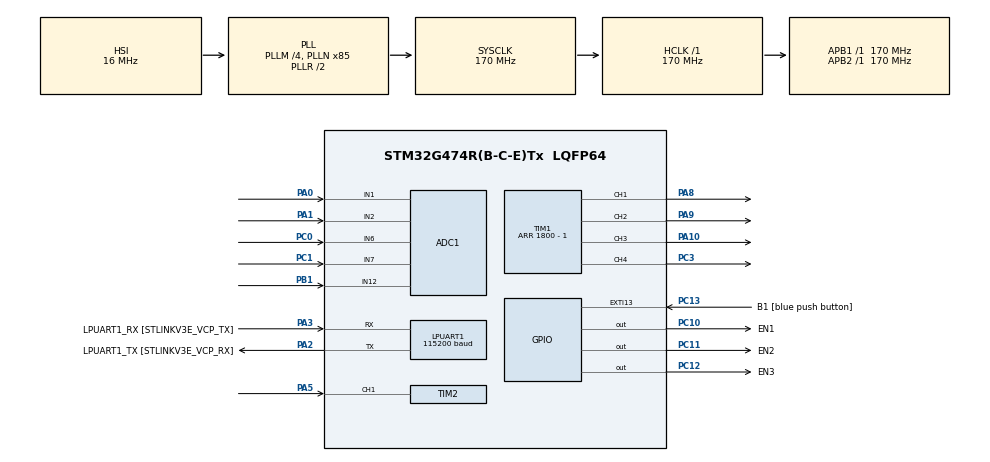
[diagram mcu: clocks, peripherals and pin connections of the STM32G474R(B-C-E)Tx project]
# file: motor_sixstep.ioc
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ADC1.Channel-0\#ChannelRegularConversion=ADC_CHANNEL_2
ADC1.Channel-4\#ChannelRegularConversion=ADC_CHANNEL_12
ADC1.ContinuousConvMode=ENABLE
ADC1.DMAContinuousRequests=ENABLE
ADC1.EnableInjectedConversion=ENABLE
ADC1.ExternalTrigInjecConv=ADC_EXTERNALTRIGINJEC_T1_TRGO
ADC1.InjNumberOfConversion=3
ADC1.InjectedChannel-1\#ChannelInjectedConversion=ADC_CHANNEL_1
ADC1.InjectedChannel-2\#ChannelInjectedConversion=ADC_CHANNEL_7
ADC1.InjectedChannel-3\#ChannelInjectedConversion=ADC_CHANNEL_6
ADC1.InjectedOffsetNumber-1\#ChannelInjectedConversion=ADC_OFFSET_NONE
ADC1.InjectedOffsetNumber-2\#ChannelInjectedConversion=ADC_OFFSET_NONE
ADC1.InjectedOffsetNumber-3\#ChannelInjectedConversion=ADC_OFFSET_NONE
ADC1.InjectedRank-1\#ChannelInjectedConversion=1
ADC1.InjectedRank-2\#ChannelInjectedConversion=2
ADC1.InjectedRank-3\#ChannelInjectedConversion=3
ADC1.InjectedSamplingTime-1\#ChannelInjectedConversion=ADC_SAMPLETIME_2CYCLES_5
ADC1.InjectedSamplingTime-2\#ChannelInjectedConversion=ADC_SAMPLETIME_2CYCLES_5
ADC1.InjectedSamplingTime-3\#ChannelInjectedConversion=ADC_SAMPLETIME_2CYCLES_5
ADC1.NbrOfConversion=2
ADC1.NbrOfConversionFlag=1
ADC1.OffsetNumber-0\#ChannelRegularConversion=ADC_OFFSET_NONE
ADC1.OffsetNumber-4\#ChannelRegularConversion=ADC_OFFSET_NONE
ADC1.Rank-0\#ChannelRegularConversion=1
ADC1.Rank-4\#ChannelRegularConversion=2
ADC1.Rank2_Channel=ADC_CHANNEL_7
ADC1.Rank3_Channel=ADC_CHANNEL_6
ADC1.SamplingTime-0\#ChannelRegularConversion=ADC_SAMPLETIME_2CYCLES_5
ADC1.SamplingTime-4\#ChannelRegularConversion=ADC_SAMPLETIME_2CYCLES_5
ADC1.master=1
Dma.ADC1.0.Direction=DMA_PERIPH_TO_MEMORY
Dma.ADC1.0.EventEnable=DISABLE
Dma.ADC1.0.Instance=DMA1_Channel1
Dma.ADC1.0.MemDataAlignment=DMA_MDATAALIGN_HALFWORD
Dma.ADC1.0.MemInc=DMA_MINC_ENABLE
Dma.ADC1.0.Mode=DMA_CIRCULAR
Dma.ADC1.0.PeriphDataAlignment=DMA_PDATAALIGN_HALFWORD
Dma.ADC1.0.PeriphInc=DMA_PINC_DISABLE
Dma.ADC1.0.Polarity=HAL_DMAMUX_REQ_GEN_RISING
Dma.ADC1.0.Priority=DMA_PRIORITY_LOW
Dma.ADC1.0.RequestNumber=1
Dma.ADC1.0.SignalID=NONE
Dma.ADC1.0.SyncEnable=DISABLE
Dma.ADC1.0.SyncPolarity=HAL_DMAMUX_SYNC_NO_EVENT
Dma.ADC1.0.SyncRequestNumber=1
Dma.ADC1.0.SyncSignalID=NONE
Dma.Request0=ADC1
LPUART1.BaudRate=115200
LPUART1.WordLength=UART_WORDLENGTH_8B
Mcu.Family=STM32G4
Mcu.Name=STM32G474R(B-C-E)Tx
Mcu.Package=LQFP64
NVIC.ADC1_2_IRQn=true\:0\:0\:false\:false\:true\:true\:true\:true
NVIC.DMA1_Channel1_IRQn=true\:0\:0\:false\:false\:true\:false\:true\:true
NVIC.EXTI15_10_IRQn=true\:0\:0\:false\:false\:true\:true\:true\:true
NVIC.PriorityGroup=NVIC_PRIORITYGROUP_4
NVIC.TIM2_IRQn=true\:0\:0\:false\:false\:true\:true\:true\:true
PA0.Mode=IN1-Single-Ended
PA0.Signal=ADC1_IN1
PA1.Mode=IN2-Single-Ended
PA1.Signal=ADC1_IN2
PA10.Signal=S_TIM1_CH3
PA13.GPIO_Label=T_SWDIO
PA13.Mode=Serial_Wire
PA13.Signal=SYS_JTMS-SWDIO
PA14.GPIO_Label=T_SWCLK
PA14.Mode=Serial_Wire
PA14.Signal=SYS_JTCK-SWCLK
PA2.GPIO_Label=LPUART1_TX [STLINKV3E_VCP_RX]
PA2.Mode=Asynchronous
PA2.Signal=LPUART1_TX
PA3.GPIO_Label=LPUART1_RX [STLINKV3E_VCP_TX]
PA3.Mode=Asynchronous
PA3.Signal=LPUART1_RX
PA5.Signal=S_TIM2_CH1
PA8.Signal=S_TIM1_CH1
PA9.Signal=S_TIM1_CH2
PB1.Mode=IN12-Single-Ended
PB1.Signal=ADC1_IN12
PC0.Mode=IN6-Single-Ended
PC0.Signal=ADC1_IN6
PC1.Mode=IN7-Single-Ended
PC1.Signal=ADC1_IN7
PC10.GPIO_Label=EN1
PC10.Signal=GPIO_Output
PC11.GPIO_Label=EN2
PC11.Signal=GPIO_Output
PC12.GPIO_Label=EN3
PC12.Signal=GPIO_Output
PC13.GPIO_Label=B1 [blue push button]
PC13.Signal=GPXTI13
PC14-OSC32_IN.Mode=LSE-External-Oscillator
PC14-OSC32_IN.Signal=RCC_OSC32_IN
PC15-OSC32_OUT.Mode=LSE-External-Oscillator
PC15-OSC32_OUT.Signal=RCC_OSC32_OUT
PC3.Signal=S_TIM1_CH4
PF0-OSC_IN.Mode=HSE-External-Oscillator
PF0-OSC_IN.Signal=RCC_OSC_IN
PF1-OSC_OUT.Mode=HSE-External-Oscillator
PF1-OSC_OUT.Signal=RCC_OSC_OUT
ProjectManager.HeapSize=0x200
ProjectManager.StackSize=0x400
ProjectManager.TargetToolchain=Makefile
RCC.ADC12Freq_Value=170000000
RCC.ADC345Freq_Value=170000000
RCC.AHBFreq_Value=170000000
RCC.APB1Freq_Value=170000000
RCC.APB1TimFreq_Value=170000000
RCC.APB2Freq_Value=170000000
RCC.APB2TimFreq_Value=170000000
RCC.CortexFreq_Value=170000000
RCC.EXTERNAL_CLOCK_VALUE=12288000
RCC.HCLKFreq_Value=170000000
RCC.HSE_VALUE=24000000
RCC.HSI48_VALUE=48000000
RCC.HSI_VALUE=16000000
RCC.PLLM=RCC_PLLM_DIV4
RCC.PLLN=85
RCC.RTCClockSelection=RCC_RTCCLKSOURCE_LSE
RCC.SYSCLKFreq_VALUE=170000000
RCC.SYSCLKSource=RCC_SYSCLKSOURCE_PLLCLK
RCC.USBFreq_Value=170000000
RCC.VCOOutputFreq_Value=340000000
SH.S_TIM1_CH1.0=TIM1_CH1,PWM Generation1 CH1
SH.S_TIM1_CH2.0=TIM1_CH2,PWM Generation2 CH2
SH.S_TIM1_CH3.0=TIM1_CH3,PWM Generation3 CH3
SH.S_TIM1_CH4.0=TIM1_CH4,PWM Generation4 CH4
SH.S_TIM2_CH1.0=TIM2_CH1,Input_Capture1_from_TI1
TIM1.Channel-PWM\ Generation1\ CH1=TIM_CHANNEL_1
TIM1.Channel-PWM\ Generation2\ CH2=TIM_CHANNEL_2
TIM1.Channel-PWM\ Generation3\ CH3=TIM_CHANNEL_3
TIM1.Channel-PWM\ Generation4\ CH4=TIM_CHANNEL_4
TIM1.CounterMode=TIM_COUNTERMODE_CENTERALIGNED1
TIM1.OCMode_PWM-PWM\ Generation4\ CH4=TIM_OCMODE_PWM2
TIM1.PeriodNoDither=1800 - 1
TIM1.TIM_MasterOutputTrigger=TIM_TRGO_OC4REF
TIM2.Channel-Input_Capture1_from_TI1=TIM_CHANNEL_1
TIM2.ICPolarity_CH1=TIM_INPUTCHANNELPOLARITY_BOTHEDGE
TIM2.PeriodNoDither=65535
VP_SYS_VS_DBSignals.Mode=DisableDeadBatterySignals
VP_TIM2_VS_ClockSourceINT.Mode=Internal
board=NUCLEO-G474RE

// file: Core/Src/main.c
/* USER CODE BEGIN Header */
/**
  ******************************************************************************
  * @file           : main.c
  * @brief          : Main program body
  ******************************************************************************
  * @attention
  *
  * Copyright (c) 2023 STMicroelectronics.
  * All rights reserved.
  *
  * This software is licensed under terms that can be found in the LICENSE file
  * in the root directory of this software component.
  * If no LICENSE file comes with this software, it is provided AS-IS.
  *
  ******************************************************************************
  */
/* USER CODE END Header */
#include "main.h"
#include "adc.h"
#include "dma.h"
#include "usart.h"
#include "tim.h"
#include "gpio.h"

#include<stdio.h>
#include<string.h>
#include "GlogalVariables.h"
#include "SixsStep.h"
#include "SignalReadWrite.h"

/* USER CODE BEGIN PD */
#define IDLE   0
#define DONE   1
#define F_CLK  170000000UL //CPU CLK
#define PWM_PERIOD 1000.0 //PWM cycle
#ifdef __GNUC__
#define PUTCHAR_PROTOTYPE int __io_putchar(int ch)
#define GETCHAR_PROTOTYPE int __io_getchar(void)
#else
#define PUTCHAR_PROTOTYPE int fputc(int ch, FILE *f)
#define GETCHAR_PROTOTYPE int f getc(FILE* f)
#endif
/* USER CODE END PD */

ADC_HandleTypeDef hadc1;
TIM_HandleTypeDef htim1;
TIM_HandleTypeDef htim2;
UART_HandleTypeDef huart1;
UART_HandleTypeDef huart2;
/* USER CODE BEGIN PV */
volatile uint8_t gu8_State = IDLE;
volatile uint8_t gu8_MSG[35] = {'\0'};
volatile uint32_t gu32_T1 = 0;
volatile uint32_t gu32_T2 = 0;
volatile uint32_t gu32_Ticks = 0;
volatile uint16_t gu16_TIM2_OVC = 0;
volatile uint8_t gu32_Freq = 0;
float duty_u = 0;

/* USER CODE END PV */

void SystemClock_Config(void);
void MX_TIM1_Init(void);
void MX_TIM2_Init(void);
void MX_USART1_UART_Init(void);/* USER CODE BEGIN PFP */
void MX_GPIO_Init(void);
void MX_DMA_Init(void);
void MX_ADC1_Init(void);
/* USER CODE END PFP */

/* USER CODE BEGIN 0 */
void __io_putchar(uint8_t ch)
{
  HAL_UART_Transmit(&hlpuart1, &ch, 1, 0xFFFFFFFF);
}
int __io_getchar(void)
{
  uint8_t rxBuf;
  while(HAL_UART_Receive(&hlpuart1, &rxBuf, 1, 0xFFFFFFFF) != HAL_OK);
  return(rxBuf);
}
void HAL_TIM_IC_CaptureCallback(TIM_HandleTypeDef *htim)
{
    if(gu8_State == IDLE)
    {
        gu32_T1 = TIM2->CCR1;
        gu16_TIM2_OVC = 0;
        gu8_State = DONE;
    }
    else if(gu8_State == DONE)
    {
        gu32_T2 = TIM2->CCR1;
        gu32_Ticks = (gu32_T2 + (gu16_TIM2_OVC * 65536)) - gu32_T1;
        gu32_Freq = (uint32_t)(F_CLK/gu32_Ticks);
        gu8_State = IDLE;
    }

}

void HAL_TIM_PeriodElapsedCallback(TIM_HandleTypeDef* htim)
{
    gu16_TIM2_OVC++;
}

/* USER CODE END 0 */

int main(void)
{

  /* MCU Configuration--------------------------------------------------------*/

  /* Reset of all peripherals, Initializes the Flash interface and the Systick. */
  HAL_Init();

  /* Configure the system clock */
  SystemClock_Config();

  /* Initialize all configured peripherals */
  MX_GPIO_Init();
  MX_DMA_Init();
  MX_LPUART1_UART_Init();
  MX_ADC1_Init();
  MX_TIM1_Init();
  MX_TIM2_Init();
  /* USER CODE BEGIN 2 */
  HAL_GPIO_WritePin(EN1_GPIO_Port, EN1_Pin, GPIO_PIN_SET);
  HAL_GPIO_WritePin(EN2_GPIO_Port, EN2_Pin, GPIO_PIN_SET);
  HAL_GPIO_WritePin(EN3_GPIO_Port, EN3_Pin, GPIO_PIN_SET);
  HAL_TIM_Base_Start_IT(&htim1);
  HAL_TIM_Base_Start_IT(&htim2);
  HAL_TIM_PWM_Start(&htim1, TIM_CHANNEL_1);
  HAL_TIMEx_PWMN_Start(&htim1, TIM_CHANNEL_1);
  HAL_TIM_PWM_Start(&htim1, TIM_CHANNEL_2);
  HAL_TIMEx_PWMN_Start(&htim1, TIM_CHANNEL_2);
  HAL_TIM_PWM_Start(&htim1, TIM_CHANNEL_3);
  HAL_TIMEx_PWMN_Start(&htim1, TIM_CHANNEL_3);
  HAL_TIM_IC_Start_IT(&htim2,TIM_CHANNEL_1);
  HAL_ADCEx_InjectedStart_IT(&hadc1);
  setbuf(stdout,NULL);
  setbuf(stdin,NULL);

  TIM1 -> CCR4 = (TIM1 -> ARR) - 10;//for Carrier Top Interrupt

  HAL_ADC_Start_DMA(&hadc1, (uint32_t*)gAdcValue, 2);

  /* USER CODE END 2 */

  /* Infinite loop */
  while (1)
  {
    HAL_Delay(50);
    duty_u = ((gu32_Ticks) * -0.0004) + 1000;

    printf("Duty : %f, Gu32Ticks : %lu\n", (float)duty_u, gu32_Ticks);
  }
}

void SystemClock_Config(void)
{
  RCC_OscInitTypeDef RCC_OscInitStruct = {0};
  RCC_ClkInitTypeDef RCC_ClkInitStruct = {0};

  /** Configure the main internal regulator output voltage
  */
  HAL_PWREx_ControlVoltageScaling(PWR_REGULATOR_VOLTAGE_SCALE1_BOOST);

  /** Initializes the RCC Oscillators according to the specified parameters
  * in the RCC_OscInitTypeDef structure.
  */
  RCC_OscInitStruct.OscillatorType = RCC_OSCILLATORTYPE_HSI;
  RCC_OscInitStruct.HSIState = RCC_HSI_ON;
  RCC_OscInitStruct.HSICalibrationValue = RCC_HSICALIBRATION_DEFAULT;
  RCC_OscInitStruct.PLL.PLLState = RCC_PLL_ON;
  RCC_OscInitStruct.PLL.PLLSource = RCC_PLLSOURCE_HSI;
  RCC_OscInitStruct.PLL.PLLM = RCC_PLLM_DIV4;
  RCC_OscInitStruct.PLL.PLLN = 85;
  RCC_OscInitStruct.PLL.PLLP = RCC_PLLP_DIV2;
  RCC_OscInitStruct.PLL.PLLQ = RCC_PLLQ_DIV2;
  RCC_OscInitStruct.PLL.PLLR = RCC_PLLR_DIV2;
  if (HAL_RCC_OscConfig(&RCC_OscInitStruct) != HAL_OK)
  {
    Error_Handler();
  }

  /** Initializes the CPU, AHB and APB buses clocks
  */
  RCC_ClkInitStruct.ClockType = RCC_CLOCKTYPE_HCLK|RCC_CLOCKTYPE_SYSCLK
                              |RCC_CLOCKTYPE_PCLK1|RCC_CLOCKTYPE_PCLK2;
  RCC_ClkInitStruct.SYSCLKSource = RCC_SYSCLKSOURCE_PLLCLK;
  RCC_ClkInitStruct.AHBCLKDivider = RCC_SYSCLK_DIV1;
  RCC_ClkInitStruct.APB1CLKDivider = RCC_HCLK_DIV1;
  RCC_ClkInitStruct.APB2CLKDivider = RCC_HCLK_DIV1;

  if (HAL_RCC_ClockConfig(&RCC_ClkInitStruct, FLASH_LATENCY_4) != HAL_OK)
  {
    Error_Handler();
  }
}

void Error_Handler(void)
{
  __disable_irq();
  while (1)
  {
  }
}
